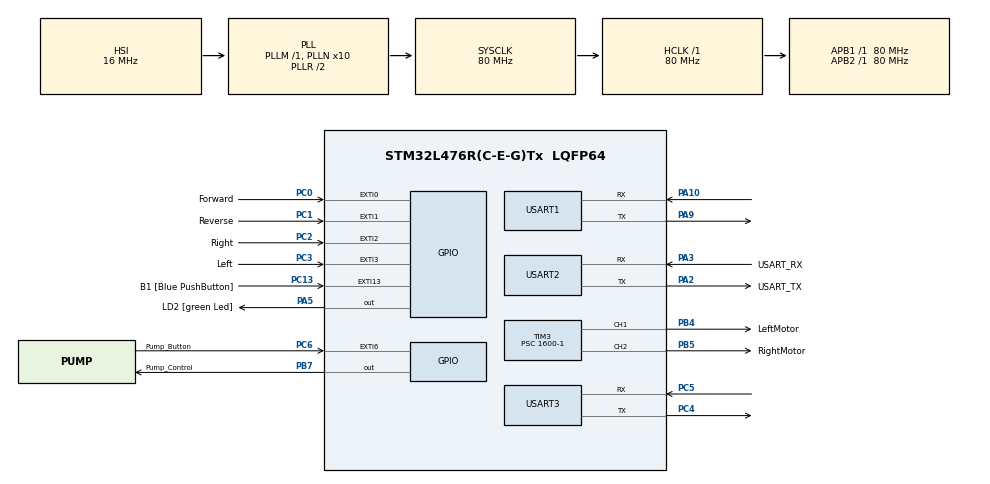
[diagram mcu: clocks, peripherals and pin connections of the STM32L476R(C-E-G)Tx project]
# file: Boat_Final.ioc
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Mcu.Family=STM32L4
Mcu.Name=STM32L476R(C-E-G)Tx
Mcu.Package=LQFP64
NVIC.EXTI0_IRQn=true\:0\:0\:false\:false\:true\:true\:true\:true
NVIC.EXTI1_IRQn=true\:0\:0\:false\:false\:true\:true\:true\:true
NVIC.EXTI2_IRQn=true\:0\:0\:false\:false\:true\:true\:true\:true
NVIC.EXTI3_IRQn=true\:0\:0\:false\:false\:true\:true\:true\:true
NVIC.EXTI9_5_IRQn=true\:0\:0\:false\:false\:true\:true\:true\:true
NVIC.PriorityGroup=NVIC_PRIORITYGROUP_4
NVIC.USART1_IRQn=true\:0\:0\:false\:false\:true\:true\:true\:true
NVIC.USART3_IRQn=true\:0\:0\:false\:false\:true\:true\:true\:true
PA10.Mode=Asynchronous
PA10.Signal=USART1_RX
PA13\ (JTMS-SWDIO).GPIO_Label=TMS
PA13\ (JTMS-SWDIO).Mode=Serial_Wire
PA13\ (JTMS-SWDIO).Signal=SYS_JTMS-SWDIO
PA14\ (JTCK-SWCLK).GPIO_Label=TCK
PA14\ (JTCK-SWCLK).Mode=Serial_Wire
PA14\ (JTCK-SWCLK).Signal=SYS_JTCK-SWCLK
PA2.GPIO_Label=USART_TX
PA2.GPIO_Mode=GPIO_MODE_AF_PP
PA2.GPIO_PuPd=GPIO_NOPULL
PA2.GPIO_Speed=GPIO_SPEED_FREQ_VERY_HIGH
PA2.Mode=Asynchronous
PA2.Signal=USART2_TX
PA3.GPIO_Label=USART_RX
PA3.GPIO_Mode=GPIO_MODE_AF_PP
PA3.GPIO_PuPd=GPIO_NOPULL
PA3.GPIO_Speed=GPIO_SPEED_FREQ_VERY_HIGH
PA3.Mode=Asynchronous
PA3.Signal=USART2_RX
PA5.GPIO_Label=LD2 [green Led]
PA5.GPIO_ModeDefaultOutputPP=GPIO_MODE_OUTPUT_PP
PA5.GPIO_PuPd=GPIO_NOPULL
PA5.GPIO_Speed=GPIO_SPEED_FREQ_LOW
PA5.Signal=GPIO_Output
PA9.Mode=Asynchronous
PA9.Signal=USART1_TX
PB3\ (JTDO-TRACESWO).GPIO_Label=SWO
PB3\ (JTDO-TRACESWO).Signal=SYS_JTDO-SWO
PB4\ (NJTRST).GPIO_Label=LeftMotor
PB4\ (NJTRST).Signal=S_TIM3_CH1
PB5.GPIO_Label=RightMotor
PB5.Signal=S_TIM3_CH2
PB7.GPIO_Label=Pump_Control
PB7.Signal=GPIO_Output
PC0.GPIO_Label=Forward
PC0.GPIO_ModeDefaultEXTI=GPIO_MODE_IT_RISING_FALLING
PC0.GPIO_PuPd=GPIO_PULLUP
PC0.Signal=GPXTI0
PC1.GPIO_Label=Reverse
PC1.GPIO_ModeDefaultEXTI=GPIO_MODE_IT_RISING_FALLING
PC1.GPIO_PuPd=GPIO_PULLUP
PC1.Signal=GPXTI1
PC13.GPIO_Label=B1 [Blue PushButton]
PC13.GPIO_ModeDefaultEXTI=GPIO_MODE_IT_FALLING
PC13.GPIO_PuPd=GPIO_NOPULL
PC13.Signal=GPXTI13
PC14-OSC32_IN\ (PC14).Mode=LSE-External-Oscillator
PC14-OSC32_IN\ (PC14).Signal=RCC_OSC32_IN
PC15-OSC32_OUT\ (PC15).Mode=LSE-External-Oscillator
PC15-OSC32_OUT\ (PC15).Signal=RCC_OSC32_OUT
PC2.GPIO_Label=Right
PC2.GPIO_ModeDefaultEXTI=GPIO_MODE_IT_RISING_FALLING
PC2.GPIO_PuPd=GPIO_PULLUP
PC2.Signal=GPXTI2
PC3.GPIO_Label=Left
PC3.GPIO_ModeDefaultEXTI=GPIO_MODE_IT_RISING_FALLING
PC3.GPIO_PuPd=GPIO_PULLUP
PC3.Signal=GPXTI3
PC4.Mode=Asynchronous
PC4.Signal=USART3_TX
PC5.Mode=Asynchronous
PC5.Signal=USART3_RX
PC6.GPIO_Label=Pump_Button
PC6.GPIO_ModeDefaultEXTI=GPIO_MODE_IT_FALLING
PC6.GPIO_PuPd=GPIO_PULLUP
PC6.Signal=GPXTI6
PH0-OSC_IN\ (PH0).Signal=RCC_OSC_IN
PH1-OSC_OUT\ (PH1).Signal=RCC_OSC_OUT
ProjectManager.HeapSize=0x200
ProjectManager.StackSize=0x400
ProjectManager.TargetToolchain=STM32CubeIDE
RCC.ADCFreq_Value=64000000
RCC.AHBFreq_Value=80000000
RCC.APB1Freq_Value=80000000
RCC.APB1TimFreq_Value=80000000
RCC.APB2Freq_Value=80000000
RCC.APB2TimFreq_Value=80000000
RCC.CortexFreq_Value=80000000
RCC.HCLKFreq_Value=80000000
RCC.HSE_VALUE=8000000
RCC.HSI_VALUE=16000000
RCC.MSI_VALUE=4000000
RCC.PLLN=10
RCC.PLLSourceVirtual=RCC_PLLSOURCE_HSI
RCC.PREFETCH_ENABLE=1
RCC.SYSCLKFreq_VALUE=80000000
RCC.SYSCLKSource=RCC_SYSCLKSOURCE_PLLCLK
RCC.USBFreq_Value=64000000
RCC.VCOOutputFreq_Value=160000000
SH.S_TIM3_CH1.0=TIM3_CH1,PWM Generation1 CH1
SH.S_TIM3_CH2.0=TIM3_CH2,PWM Generation2 CH2
TIM3.AutoReloadPreload=TIM_AUTORELOAD_PRELOAD_DISABLE
TIM3.Channel-PWM\ Generation1\ CH1=TIM_CHANNEL_1
TIM3.Channel-PWM\ Generation2\ CH2=TIM_CHANNEL_2
TIM3.Period=1000-1
TIM3.Prescaler=1600-1
TIM3.Pulse-PWM\ Generation1\ CH1=1000
TIM3.Pulse-PWM\ Generation2\ CH2=1000
USART1.VirtualMode-Asynchronous=VM_ASYNC
USART2.VirtualMode-Asynchronous=VM_ASYNC
USART3.VirtualMode-Asynchronous=VM_ASYNC
board=NUCLEO-L476RG

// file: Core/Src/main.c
/* USER CODE BEGIN Header */
/**
  ******************************************************************************
  * @file           : main.c
  * @brief          : Main program body
  ******************************************************************************
  * @attention
  *
  * Copyright (c) 2025 STMicroelectronics.
  * All rights reserved.
  *
  * This software is licensed under terms that can be found in the LICENSE file
  * in the root directory of this software component.
  * If no LICENSE file comes with this software, it is provided AS-IS.
  *
  ******************************************************************************
  */
/* USER CODE END Header */
#include "main.h"

/* USER CODE BEGIN Includes */
#include <stdio.h>
#include <string.h>
#include <stdbool.h>
#include "pump_control.h"
/* USER CODE END Includes */

/* USER CODE BEGIN PM */
#define LORA_RX_TIMEOUT 2000  // ms
#define LORA_BUFFER_SIZE 256
#define UART_DELAY 100 // wait max of 100 ms between frames in message
#define MAX_MESSAGE_SIZE 100 // 100 characters maximum message size
#define LORA_RX_BUF_LEN 128

#define ADC_MAX_VALUE    4095      // 12-bit ADC
#define PWM_MAX_VALUE    50		   // 50Hz duty cycle

// Choose which node this board will be
//#define NODE_ALPHA   1
#define NODE_BETA  1

/* USER CODE END PM */

TIM_HandleTypeDef htim3;

UART_HandleTypeDef huart1;
UART_HandleTypeDef huart2;
UART_HandleTypeDef huart3;

/* USER CODE BEGIN PV */
uint8_t message[MAX_MESSAGE_SIZE] = { 0 }; // char array to store message received
uint8_t response[MAX_MESSAGE_SIZE] = { 0 }; // char array to store response message
uint8_t uart1_byte; // byte received from UART1
uint8_t uart2_byte; // byte received from UART2
uint8_t buffer_position = 0; // how many bytes received so far in message
uint16_t LoRa_RxIndex = 0;
volatile char lora_rx_buffer[LORA_RX_BUF_LEN];
volatile uint16_t lora_rx_index = 0;
/* USER CODE END PV */

void SystemClock_Config(void);
static void MX_GPIO_Init(void);
static void MX_USART2_UART_Init(void);
static void MX_USART3_UART_Init(void);
static void MX_USART1_UART_Init(void);
static void MX_TIM3_Init(void);
/* USER CODE BEGIN PFP */
bool LoRa_SendCommand(UART_HandleTypeDef *huart, const char *cmd, char *response_buf, uint16_t buf_len);
bool LoRa_Init(UART_HandleTypeDef *huart, uint16_t address);
bool LoRa_SendMessage(UART_HandleTypeDef *huart, uint16_t destAddr, const char *msg);
//int LoRa_ReadMessage(UART_HandleTypeDef *huart);
bool LoRa_ReadLine(UART_HandleTypeDef *huart, char *buffer, uint16_t max_len, uint32_t timeout);
void LoRa_StartReceive_IT(UART_HandleTypeDef *huart);
void LoRa_ProcessLine(char *line);
/* USER CODE END PFP */

/* USER CODE BEGIN 0 */
int __io_putchar(int ch)
{
    HAL_UART_Transmit(&huart2, (uint8_t *)&ch, 1, HAL_MAX_DELAY);
    return ch;
}

/* USER CODE END 0 */

int main(void)
{

  /* MCU Configuration--------------------------------------------------------*/

  /* Reset of all peripherals, Initializes the Flash interface and the Systick. */
  HAL_Init();

  /* Configure the system clock */
  SystemClock_Config();

  /* Initialize all configured peripherals */
  MX_GPIO_Init();
  MX_USART2_UART_Init();
  MX_USART3_UART_Init();
  MX_USART1_UART_Init();
  MX_TIM3_Init();
  /* USER CODE BEGIN 2 */

  //initialize motors
	__HAL_TIM_SET_COMPARE(&htim3, TIM_CHANNEL_1, 75);
	__HAL_TIM_SET_COMPARE(&htim3, TIM_CHANNEL_2, 75);

  HAL_Delay(1000); // wait for modules to boot

  printf("Initializing LoRa module...\r\n");

  #ifdef NODE_ALPHA
  HAL_UART_AbortReceive_IT(&huart1);  // Stop interrupt
  LoRa_Init(&huart1, 1);              // Do blocking init
  LoRa_StartReceive_IT(&huart1);      // Re-enable interrupt mode

  #endif

  #ifdef NODE_BETA
  LoRa_Init(&huart3, 2);  // Beta has address 2
  #endif

  printf("LoRa init complete.\r\n");

  Pump_Init();

  // Initialize the motors.
  HAL_TIM_PWM_Start(&htim3, TIM_CHANNEL_1);
  HAL_TIM_PWM_Start(&htim3, TIM_CHANNEL_2);
  /* USER CODE END 2 */

  /* Infinite loop */
  /* USER CODE BEGIN WHILE */
  while (1)
  {
//	       Beta node: send-only
//	      if (HAL_GPIO_ReadPin(B1_GPIO_Port, B1_Pin) == GPIO_PIN_RESET)
//	      {
//	          HAL_Delay(50);  // debounce
//
//	          // Optional: short wait to ensure LoRa module is ready
//	          HAL_Delay(10);
//
//	          // Flush UART to clear any stray data
//	          __HAL_UART_FLUSH_DRREGISTER(&huart3);
//	          __HAL_UART_CLEAR_OREFLAG(&huart3);
//	          __HAL_UART_CLEAR_FLAG(&huart3, UART_CLEAR_NEF);
//
////	           Send message to Alpha (address 1)
//	          LoRa_SendMessage(&huart3, 1, "LEFT");
//
//
//	          // Wait for button release to avoid multiple sends
//	          while (HAL_GPIO_ReadPin(B1_GPIO_Port, B1_Pin) == GPIO_PIN_SET);
//
//	          // LED feedback
//	          HAL_GPIO_TogglePin(LD2_GPIO_Port, LD2_Pin);
//	      }
//
//
//	      HAL_Delay(100);

    /* USER CODE END WHILE */

  }
}

void SystemClock_Config(void)
{
  RCC_OscInitTypeDef RCC_OscInitStruct = {0};
  RCC_ClkInitTypeDef RCC_ClkInitStruct = {0};

  /** Configure the main internal regulator output voltage
  */
  if (HAL_PWREx_ControlVoltageScaling(PWR_REGULATOR_VOLTAGE_SCALE1) != HAL_OK)
  {
    Error_Handler();
  }

  /** Initializes the RCC Oscillators according to the specified parameters
  * in the RCC_OscInitTypeDef structure.
  */
  RCC_OscInitStruct.OscillatorType = RCC_OSCILLATORTYPE_HSI;
  RCC_OscInitStruct.HSIState = RCC_HSI_ON;
  RCC_OscInitStruct.HSICalibrationValue = RCC_HSICALIBRATION_DEFAULT;
  RCC_OscInitStruct.PLL.PLLState = RCC_PLL_ON;
  RCC_OscInitStruct.PLL.PLLSource = RCC_PLLSOURCE_HSI;
  RCC_OscInitStruct.PLL.PLLM = 1;
  RCC_OscInitStruct.PLL.PLLN = 10;
  RCC_OscInitStruct.PLL.PLLP = RCC_PLLP_DIV7;
  RCC_OscInitStruct.PLL.PLLQ = RCC_PLLQ_DIV2;
  RCC_OscInitStruct.PLL.PLLR = RCC_PLLR_DIV2;
  if (HAL_RCC_OscConfig(&RCC_OscInitStruct) != HAL_OK)
  {
    Error_Handler();
  }

  /** Initializes the CPU, AHB and APB buses clocks
  */
  RCC_ClkInitStruct.ClockType = RCC_CLOCKTYPE_HCLK|RCC_CLOCKTYPE_SYSCLK
                              |RCC_CLOCKTYPE_PCLK1|RCC_CLOCKTYPE_PCLK2;
  RCC_ClkInitStruct.SYSCLKSource = RCC_SYSCLKSOURCE_PLLCLK;
  RCC_ClkInitStruct.AHBCLKDivider = RCC_SYSCLK_DIV1;
  RCC_ClkInitStruct.APB1CLKDivider = RCC_HCLK_DIV1;
  RCC_ClkInitStruct.APB2CLKDivider = RCC_HCLK_DIV1;

  if (HAL_RCC_ClockConfig(&RCC_ClkInitStruct, FLASH_LATENCY_4) != HAL_OK)
  {
    Error_Handler();
  }
}

static void MX_TIM3_Init(void)
{

  TIM_MasterConfigTypeDef sMasterConfig = {0};
  TIM_OC_InitTypeDef sConfigOC = {0};

  htim3.Instance = TIM3;
  htim3.Init.Prescaler = 1600-1;
  htim3.Init.CounterMode = TIM_COUNTERMODE_UP;
  htim3.Init.Period = 1000-1;
  htim3.Init.ClockDivision = TIM_CLOCKDIVISION_DIV1;
  htim3.Init.AutoReloadPreload = TIM_AUTORELOAD_PRELOAD_DISABLE;
  if (HAL_TIM_PWM_Init(&htim3) != HAL_OK)
  {
    Error_Handler();
  }
  sMasterConfig.MasterOutputTrigger = TIM_TRGO_RESET;
  sMasterConfig.MasterSlaveMode = TIM_MASTERSLAVEMODE_DISABLE;
  if (HAL_TIMEx_MasterConfigSynchronization(&htim3, &sMasterConfig) != HAL_OK)
  {
    Error_Handler();
  }
  sConfigOC.OCMode = TIM_OCMODE_PWM1;
  sConfigOC.Pulse = 1000;
  sConfigOC.OCPolarity = TIM_OCPOLARITY_HIGH;
  sConfigOC.OCFastMode = TIM_OCFAST_DISABLE;
  if (HAL_TIM_PWM_ConfigChannel(&htim3, &sConfigOC, TIM_CHANNEL_1) != HAL_OK)
  {
    Error_Handler();
  }
  if (HAL_TIM_PWM_ConfigChannel(&htim3, &sConfigOC, TIM_CHANNEL_2) != HAL_OK)
  {
    Error_Handler();
  }
  HAL_TIM_MspPostInit(&htim3);

}

static void MX_USART1_UART_Init(void)
{

  huart1.Instance = USART1;
  huart1.Init.BaudRate = 115200;
  huart1.Init.WordLength = UART_WORDLENGTH_8B;
  huart1.Init.StopBits = UART_STOPBITS_1;
  huart1.Init.Parity = UART_PARITY_NONE;
  huart1.Init.Mode = UART_MODE_TX_RX;
  huart1.Init.HwFlowCtl = UART_HWCONTROL_NONE;
  huart1.Init.OverSampling = UART_OVERSAMPLING_16;
  huart1.Init.OneBitSampling = UART_ONE_BIT_SAMPLE_DISABLE;
  huart1.AdvancedInit.AdvFeatureInit = UART_ADVFEATURE_NO_INIT;
  if (HAL_UART_Init(&huart1) != HAL_OK)
  {
    Error_Handler();
  }

}

static void MX_USART2_UART_Init(void)
{

  huart2.Instance = USART2;
  huart2.Init.BaudRate = 115200;
  huart2.Init.WordLength = UART_WORDLENGTH_8B;
  huart2.Init.StopBits = UART_STOPBITS_1;
  huart2.Init.Parity = UART_PARITY_NONE;
  huart2.Init.Mode = UART_MODE_TX_RX;
  huart2.Init.HwFlowCtl = UART_HWCONTROL_NONE;
  huart2.Init.OverSampling = UART_OVERSAMPLING_16;
  huart2.Init.OneBitSampling = UART_ONE_BIT_SAMPLE_DISABLE;
  huart2.AdvancedInit.AdvFeatureInit = UART_ADVFEATURE_NO_INIT;
  if (HAL_UART_Init(&huart2) != HAL_OK)
  {
    Error_Handler();
  }

}

static void MX_USART3_UART_Init(void)
{

  huart3.Instance = USART3;
  huart3.Init.BaudRate = 115200;
  huart3.Init.WordLength = UART_WORDLENGTH_8B;
  huart3.Init.StopBits = UART_STOPBITS_1;
  huart3.Init.Parity = UART_PARITY_NONE;
  huart3.Init.Mode = UART_MODE_TX_RX;
  huart3.Init.HwFlowCtl = UART_HWCONTROL_NONE;
  huart3.Init.OverSampling = UART_OVERSAMPLING_16;
  huart3.Init.OneBitSampling = UART_ONE_BIT_SAMPLE_DISABLE;
  huart3.AdvancedInit.AdvFeatureInit = UART_ADVFEATURE_NO_INIT;
  if (HAL_UART_Init(&huart3) != HAL_OK)
  {
    Error_Handler();
  }

}

static void MX_GPIO_Init(void)
{
  GPIO_InitTypeDef GPIO_InitStruct = {0};

  /* GPIO Ports Clock Enable */
  __HAL_RCC_GPIOC_CLK_ENABLE();
  __HAL_RCC_GPIOH_CLK_ENABLE();
  __HAL_RCC_GPIOA_CLK_ENABLE();
  __HAL_RCC_GPIOB_CLK_ENABLE();

  /*Configure GPIO pin Output Level */
  HAL_GPIO_WritePin(LD2_GPIO_Port, LD2_Pin, GPIO_PIN_RESET);

  /*Configure GPIO pin Output Level */
  HAL_GPIO_WritePin(Pump_Control_GPIO_Port, Pump_Control_Pin, GPIO_PIN_RESET);

  /*Configure GPIO pin : B1_Pin */
  GPIO_InitStruct.Pin = B1_Pin;
  GPIO_InitStruct.Mode = GPIO_MODE_IT_FALLING;
  GPIO_InitStruct.Pull = GPIO_NOPULL;
  HAL_GPIO_Init(B1_GPIO_Port, &GPIO_InitStruct);

  /*Configure GPIO pins : Forward_Pin Reverse_Pin Right_Pin Left_Pin */
  GPIO_InitStruct.Pin = Forward_Pin|Reverse_Pin|Right_Pin|Left_Pin;
  GPIO_InitStruct.Mode = GPIO_MODE_IT_RISING_FALLING;
  GPIO_InitStruct.Pull = GPIO_PULLUP;
  HAL_GPIO_Init(GPIOC, &GPIO_InitStruct);

  /*Configure GPIO pin : LD2_Pin */
  GPIO_InitStruct.Pin = LD2_Pin;
  GPIO_InitStruct.Mode = GPIO_MODE_OUTPUT_PP;
  GPIO_InitStruct.Pull = GPIO_NOPULL;
  GPIO_InitStruct.Speed = GPIO_SPEED_FREQ_LOW;
  HAL_GPIO_Init(LD2_GPIO_Port, &GPIO_InitStruct);

  /*Configure GPIO pin : Pump_Button_Pin */
  GPIO_InitStruct.Pin = Pump_Button_Pin;
  GPIO_InitStruct.Mode = GPIO_MODE_IT_FALLING;
  GPIO_InitStruct.Pull = GPIO_PULLUP;
  HAL_GPIO_Init(Pump_Button_GPIO_Port, &GPIO_InitStruct);

  /*Configure GPIO pin : Pump_Control_Pin */
  GPIO_InitStruct.Pin = Pump_Control_Pin;
  GPIO_InitStruct.Mode = GPIO_MODE_OUTPUT_PP;
  GPIO_InitStruct.Pull = GPIO_NOPULL;
  GPIO_InitStruct.Speed = GPIO_SPEED_FREQ_LOW;
  HAL_GPIO_Init(Pump_Control_GPIO_Port, &GPIO_InitStruct);

  /* EXTI interrupt init*/
  HAL_NVIC_SetPriority(EXTI0_IRQn, 0, 0);
  HAL_NVIC_EnableIRQ(EXTI0_IRQn);

  HAL_NVIC_SetPriority(EXTI1_IRQn, 0, 0);
  HAL_NVIC_EnableIRQ(EXTI1_IRQn);

  HAL_NVIC_SetPriority(EXTI2_IRQn, 0, 0);
  HAL_NVIC_EnableIRQ(EXTI2_IRQn);

  HAL_NVIC_SetPriority(EXTI3_IRQn, 0, 0);
  HAL_NVIC_EnableIRQ(EXTI3_IRQn);

  HAL_NVIC_SetPriority(EXTI9_5_IRQn, 0, 0);
  HAL_NVIC_EnableIRQ(EXTI9_5_IRQn);

}

/* USER CODE BEGIN 4 */

void HAL_UART_RxCpltCallback(UART_HandleTypeDef *huart)
{
    if (huart->Instance == USART1)  // UART1 → LoRa Alpha
    {
        char ch = uart1_byte;

        // Store byte
        if (lora_rx_index < LORA_RX_BUF_LEN - 1) {
            lora_rx_buffer[lora_rx_index++] = ch;
        }

        // Check for line ending
        if (ch == '\n' && lora_rx_index >= 2 &&
            lora_rx_buffer[lora_rx_index - 2] == '\r')
        {
            lora_rx_buffer[lora_rx_index - 2] = '\0'; // terminate string
            printf("LoRa Line: %s\r\n", lora_rx_buffer);

            // Process it immediately
            LoRa_ProcessLine((char*)lora_rx_buffer);

            lora_rx_index = 0; // reset for next line
        }

        // Continue receiving next byte
        HAL_UART_Receive_IT(&huart1, &uart1_byte, 1);
    }
}

void LoRa_ProcessLine(char *line)
{
    if (strstr(line, "+RCV=") == line)
    {
        int sender, len, rssi, snr;
        char msg[64] = {0};

        if (sscanf(line, "+RCV=%d,%d,%[^,],%d,%d", &sender, &len, msg, &rssi, &snr) == 5)
        {
            msg[len] = '\0';
            printf("\r\n--- LoRa RX ---\r\n");
            printf("  From: %d | RSSI: %d, SNR: %d\r\n", sender, rssi, snr);
            printf("  Payload: [%s]\r\n", msg);

            if (strcasecmp(msg, "FORWARD") == 0) {
                MotorControlFWD();
            }
            else if (strcasecmp(msg, "STOP") == 0) {
                MotorControlSTOP();
            }
            else if (strcasecmp(msg, "RIGHT") == 0) {
                MotorControlRIGHT();
            }
            else if (strcasecmp(msg, "LEFT") == 0) {
                MotorControlLEFT();
            }
            else if (strcasecmp(msg, "REVERSE") == 0) {
                MotorControlREV();
            }
            else if (strcasecmp(msg, "PUMP") == 0) {
				Pump_Toggle();
			}
            else
                printf("  >> Unrecognized command\r\n");
        }
    }
}

// Send AT command and wait for a +OK or +RCV response
bool LoRa_SendCommand(UART_HandleTypeDef *huart, const char *cmd, char *response_buf, uint16_t buf_len)
{
    char cmd_with_crlf[128];
    char rx_line[128];

    // Print command to console for debugging
    printf("-> %s\r\n", cmd);

    // 1. Send the command (must end with \r\n)
    snprintf(cmd_with_crlf, sizeof(cmd_with_crlf), "%s\r\n", cmd);
    HAL_UART_Transmit(huart, (uint8_t*)cmd_with_crlf, strlen(cmd_with_crlf), HAL_MAX_DELAY);

    // 2. Wait for a response (it might be +OK, or the requested data)
    // The module can return multiple lines (+<value> then +OK)
    uint32_t startTick = HAL_GetTick();

    // Loop to read all lines until timeout or +OK is found
    while (HAL_GetTick() - startTick < LORA_RX_TIMEOUT)
    {
        if (LoRa_ReadLine(huart, rx_line, sizeof(rx_line), LORA_RX_TIMEOUT / 4))
        {
            printf("<- %s\r\n", rx_line);

            // Check for success (+OK)
            if (strstr(rx_line, "+OK") != NULL)
            {
                return true;
            }
            // Check for error (+ERR)
            else if (strstr(rx_line, "+ERR") != NULL)
            {
                printf("LoRa command failed: %s\r\n", cmd);
                return false;
            }
            // Capture any non-status line (like AT+ADDRESS? response)
            else if (response_buf != NULL)
            {
                strncpy(response_buf, rx_line, buf_len - 1);
                response_buf[buf_len - 1] = '\0';
                // Note: We continue to wait for +OK after capturing the value.
            }
        }
    }

    // If timeout occurred without +OK or +ERR
    printf("LoRa command timed out: %s\r\n", cmd);
    return false;
}

bool LoRa_ReadLine(UART_HandleTypeDef *huart, char *buffer, uint16_t max_len, uint32_t timeout)
{
    uint32_t start = HAL_GetTick();
    uint16_t pos = 0;
    char c;

    while (HAL_GetTick() - start < timeout)
    {
        if (HAL_UART_Receive(huart, (uint8_t*)&c, 1, 5) == HAL_OK)
        {
            if (c == '\n') {
                buffer[pos] = '\0';
                return true;
            }

            if (pos < max_len - 1) {
                buffer[pos++] = c;
            }
        }
    }

    return false; // timeout
}

// Initialize LoRa module
bool LoRa_Init(UART_HandleTypeDef *huart, uint16_t address)
{
    char cmd[64];
    bool success = true;

    // ---- Step 1: Flush and wait for module boot noise ----
    __HAL_UART_FLUSH_DRREGISTER(huart);
    __HAL_UART_CLEAR_OREFLAG(huart);
    HAL_Delay(500); // allow any "+READY" lines to finish

    // ---- Step 2: Clear out any leftover startup text ----
    char dummy[64];
    while (LoRa_ReadLine(huart, dummy, sizeof(dummy), 100))
    {
        printf("LoRa boot: %s\r\n", dummy); // optional
    }

    // ---- Step 3: Ping the module with AT ----
    HAL_Delay(50); // small extra delay
    success &= LoRa_SendCommand(huart, "AT", NULL, 0);
    if (!success)
    {
        printf("⚠️  Warning: AT command timeout, retrying once...\r\n");
        HAL_Delay(200);
        success = LoRa_SendCommand(huart, "AT", NULL, 0);
    }

    if (!success)
    {
        printf("❌ LoRa not responding after retry.\r\n");
        return false;
    }

    // ---- Step 4: Apply settings ----
    snprintf(cmd, sizeof(cmd), "AT+ADDRESS=%u", address);
    success &= LoRa_SendCommand(huart, cmd, NULL, 0);
    success &= LoRa_SendCommand(huart, "AT+NETWORKID=10", NULL, 0);
    success &= LoRa_SendCommand(huart, "AT+BAND=915000000", NULL, 0);
    success &= LoRa_SendCommand(huart, "AT+PARAMETER=7,7,1,4", NULL, 0);

    if (success)
    {
        printf("✅ LoRa Module on %s initialized to Address %u.\r\n",
               (huart == &huart1) ? "UART1 (Alpha)" : "UART3 (Beta)", address);
    }

    return success;
}

// Send message to destination node
bool LoRa_SendMessage(UART_HandleTypeDef *huart, uint16_t destAddr, const char *msg)
{
    char cmd[128];
    int len = strlen(msg);

    // Command format: AT+SEND=<Address>,<Length>,<Data>
    snprintf(cmd, sizeof(cmd), "AT+SEND=%u,%d,%s", destAddr, len, msg);

    // AT+SEND should return +OK upon transmission success
    return LoRa_SendCommand(huart, cmd, NULL, 0);
}

void LoRa_StartReceive_IT(UART_HandleTypeDef *huart)
{
	HAL_UART_Receive_IT(huart, &uart1_byte, 1);

}

void MotorControlREV()
{
	__HAL_TIM_SET_COMPARE(&htim3, TIM_CHANNEL_1, 70); //50 is min
	__HAL_TIM_SET_COMPARE(&htim3, TIM_CHANNEL_2, 70);
}

void MotorControlFWD()
{
	__HAL_TIM_SET_COMPARE(&htim3, TIM_CHANNEL_1, 80); // 100 is max
	__HAL_TIM_SET_COMPARE(&htim3, TIM_CHANNEL_2, 80);
}

void MotorControlRIGHT()
{
	__HAL_TIM_SET_COMPARE(&htim3, TIM_CHANNEL_2, 70); // 50 is min
	__HAL_TIM_SET_COMPARE(&htim3, TIM_CHANNEL_1, 75); // leave neutral
}

void MotorControlLEFT()
{
	__HAL_TIM_SET_COMPARE(&htim3, TIM_CHANNEL_1, 70); // 50 min
	__HAL_TIM_SET_COMPARE(&htim3, TIM_CHANNEL_2, 75); // leave min
}

void MotorControlSTOP()
{
	__HAL_TIM_SET_COMPARE(&htim3, TIM_CHANNEL_1, 75);
	__HAL_TIM_SET_COMPARE(&htim3, TIM_CHANNEL_2, 75);
}

void HAL_GPIO_EXTI_Callback(uint16_t GPIO_Pin)
{
    if (GPIO_Pin == Forward_Pin)
    {
        GPIO_PinState state = HAL_GPIO_ReadPin(Forward_GPIO_Port, Forward_Pin);

        if (state == GPIO_PIN_RESET)   // pressed
            LoRa_SendMessage(&huart3, 1, "FORWARD");
        else                            // released
            LoRa_SendMessage(&huart3, 1, "STOP");
    }

    else if (GPIO_Pin == Reverse_Pin)
    {
        GPIO_PinState state = HAL_GPIO_ReadPin(Reverse_GPIO_Port, Reverse_Pin);

        if (state == GPIO_PIN_RESET)
            LoRa_SendMessage(&huart3, 1, "REVERSE");
        else
            LoRa_SendMessage(&huart3, 1, "STOP");
    }

    else if (GPIO_Pin == Right_Pin)
    {
        GPIO_PinState state = HAL_GPIO_ReadPin(Right_GPIO_Port, Right_Pin);

        if (state == GPIO_PIN_RESET)
            LoRa_SendMessage(&huart3, 1, "RIGHT");
        else
            LoRa_SendMessage(&huart3, 1, "STOP");
    }

    else if (GPIO_Pin == Left_Pin)
    {
        GPIO_PinState state = HAL_GPIO_ReadPin(Left_GPIO_Port, Left_Pin);

        if (state == GPIO_PIN_RESET)
            LoRa_SendMessage(&huart3, 1, "LEFT");
        else
            LoRa_SendMessage(&huart3, 1, "STOP");
    }

    else if (GPIO_Pin == Pump_Button_Pin)
    {
            LoRa_SendMessage(&huart3, 1, "PUMP");
    }

    HAL_GPIO_TogglePin(LD2_GPIO_Port, LD2_Pin);  // optional debug LED
}

/* USER CODE END 4 */

void Error_Handler(void)
{
  __disable_irq();
  while (1)
  {
  }
}
